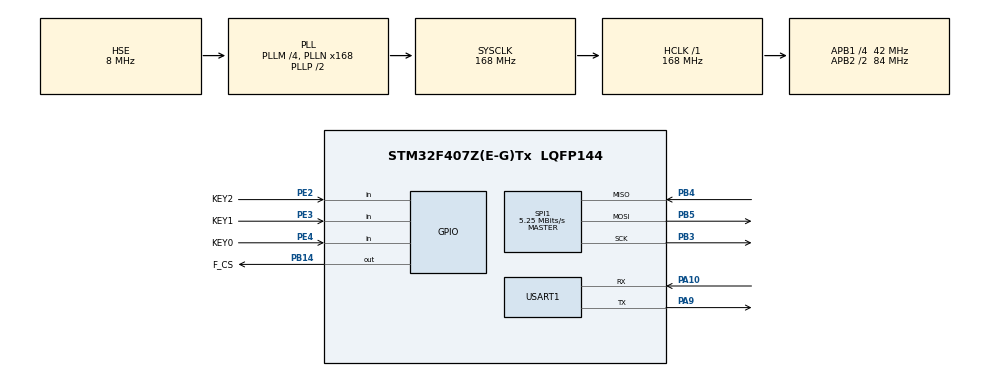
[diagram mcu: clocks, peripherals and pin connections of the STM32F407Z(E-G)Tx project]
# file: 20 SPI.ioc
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Mcu.Family=STM32F4
Mcu.Name=STM32F407Z(E-G)Tx
Mcu.Package=LQFP144
NVIC.PriorityGroup=NVIC_PRIORITYGROUP_4
NVIC.SPI1_IRQn=true\:1\:0\:true\:false\:true\:true\:true\:true
PA10.Mode=Asynchronous
PA10.Signal=USART1_RX
PA13.Mode=Serial_Wire
PA13.Signal=SYS_JTMS-SWDIO
PA14.Mode=Serial_Wire
PA14.Signal=SYS_JTCK-SWCLK
PA9.Mode=Asynchronous
PA9.Signal=USART1_TX
PB14.GPIO_Label=F_CS
PB14.GPIO_PuPd=GPIO_NOPULL
PB14.GPIO_Speed=GPIO_SPEED_FREQ_VERY_HIGH
PB14.PinState=GPIO_PIN_SET
PB14.Signal=GPIO_Output
PB3.Mode=Full_Duplex_Master
PB3.Signal=SPI1_SCK
PB4.Mode=Full_Duplex_Master
PB4.Signal=SPI1_MISO
PB5.Mode=Full_Duplex_Master
PB5.Signal=SPI1_MOSI
PC14-OSC32_IN.Mode=LSE-External-Oscillator
PC14-OSC32_IN.Signal=RCC_OSC32_IN
PC15-OSC32_OUT.Mode=LSE-External-Oscillator
PC15-OSC32_OUT.Signal=RCC_OSC32_OUT
PE2.GPIO_Label=KEY2
PE2.GPIO_PuPd=GPIO_PULLUP
PE2.Signal=GPIO_Input
PE3.GPIO_Label=KEY1
PE3.GPIO_PuPd=GPIO_PULLUP
PE3.Signal=GPIO_Input
PE4.GPIO_Label=KEY0
PE4.GPIO_PuPd=GPIO_PULLUP
PE4.Signal=GPIO_Input
PH0-OSC_IN.Mode=HSE-External-Oscillator
PH0-OSC_IN.Signal=RCC_OSC_IN
PH1-OSC_OUT.Mode=HSE-External-Oscillator
PH1-OSC_OUT.Signal=RCC_OSC_OUT
ProjectManager.HeapSize=0x200
ProjectManager.StackSize=0x1000
ProjectManager.TargetToolchain=MDK-ARM V5.32
RCC.48MHZClocksFreq_Value=84000000
RCC.AHBFreq_Value=168000000
RCC.APB1CLKDivider=RCC_HCLK_DIV4
RCC.APB1Freq_Value=42000000
RCC.APB1TimFreq_Value=84000000
RCC.APB2CLKDivider=RCC_HCLK_DIV2
RCC.APB2Freq_Value=84000000
RCC.APB2TimFreq_Value=168000000
RCC.CortexFreq_Value=168000000
RCC.HCLKFreq_Value=168000000
RCC.HSE_VALUE=8000000
RCC.HSI_VALUE=16000000
RCC.PLLM=4
RCC.PLLN=168
RCC.PLLSourceVirtual=RCC_PLLSOURCE_HSE
RCC.SYSCLKFreq_VALUE=168000000
RCC.SYSCLKSource=RCC_SYSCLKSOURCE_PLLCLK
RCC.VCOOutputFreq_Value=336000000
SPI1.BaudRatePrescaler=SPI_BAUDRATEPRESCALER_16
SPI1.CLKPhase=SPI_PHASE_1EDGE
SPI1.CLKPolarity=SPI_POLARITY_LOW
SPI1.CalculateBaudRate=5.25 MBits/s
SPI1.Direction=SPI_DIRECTION_2LINES
SPI1.Mode=SPI_MODE_MASTER
SPI1.VirtualType=VM_MASTER
USART1.VirtualMode=VM_ASYNC
board=custom

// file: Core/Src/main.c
/* USER CODE BEGIN Header */
/**
  ******************************************************************************
  * @file           : main.c
  * @brief          : Main program body
  ******************************************************************************
  * @attention
  *
  * Copyright (c) 2023 STMicroelectronics.
  * All rights reserved.
  *
  * This software is licensed under terms that can be found in the LICENSE file
  * in the root directory of this software component.
  * If no LICENSE file comes with this software, it is provided AS-IS.
  *
  ******************************************************************************
  */
/* USER CODE END Header */
#include "main.h"
#include "spi.h"
#include "usart.h"
#include "gpio.h"

/* USER CODE BEGIN Includes */
#include "w25flash.h"
#include "stdio.h"
/* USER CODE END Includes */

/* USER CODE BEGIN PTD */
#ifdef __GNUC__
#define PUTCHAR_PROTOTYPE int __io_putchar(int ch)
#else
#define PUTCHAR_PROTOTYPE int fputc(int ch, FILE *f)
#endif
PUTCHAR_PROTOTYPE
{
      HAL_UART_Transmit(&huart1, (uint8_t *)&ch, 1, HAL_MAX_DELAY);
      return ch;
}
/* USER CODE END PTD */

void SystemClock_Config(void);

int main(void)
{

  /* MCU Configuration--------------------------------------------------------*/

  /* Reset of all peripherals, Initializes the Flash interface and the Systick. */
  HAL_Init();

  /* Configure the system clock */
  SystemClock_Config();

  /* Initialize all configured peripherals */
  MX_GPIO_Init();
  MX_SPI1_Init();
  MX_USART1_UART_Init();
  /* USER CODE BEGIN 2 */

	/*主函数主循环外代码*/
	uint16_t ID = Flash_ReadID();
	printf("W25Q128 ID:0x%x\r\n",ID);
	printf("---------------------\r\n");
	printf("KEY2: Flash_Write\r\n");
	printf("KEY1: Flash_Read\r\n");
	printf("KEY0: Flash_Erase\r\n");
	printf("---------------------\r\n");

  /* USER CODE END 2 */

  /* Infinite loop */
  while (1)
  {

    /* USER CODE BEGIN 3 */
		/*按键KEY2被按下*/
		if(HAL_GPIO_ReadPin(KEY2_GPIO_Port,KEY2_Pin) == GPIO_PIN_RESET)
		{
			HAL_Delay(50);
			if(HAL_GPIO_ReadPin(KEY2_GPIO_Port,KEY2_Pin) == GPIO_PIN_RESET)
			{
				Flash_TestWrite();
				while(!HAL_GPIO_ReadPin(KEY2_GPIO_Port,KEY2_Pin));
			}
		}

		/*按键KEY1被按下*/
		if(HAL_GPIO_ReadPin(KEY1_GPIO_Port,KEY1_Pin) == GPIO_PIN_RESET)
		{
			HAL_Delay(50);
			if(HAL_GPIO_ReadPin(KEY1_GPIO_Port,KEY1_Pin) == GPIO_PIN_RESET)
			{
				Flash_TestRead();
				while(!HAL_GPIO_ReadPin(KEY1_GPIO_Port,KEY1_Pin));
			}
		}

		/*按键KEY0被按下*/
		if(HAL_GPIO_ReadPin(KEY0_GPIO_Port,KEY0_Pin) == GPIO_PIN_RESET)
		{
			HAL_Delay(50);
			if(HAL_GPIO_ReadPin(KEY0_GPIO_Port,KEY0_Pin) == GPIO_PIN_RESET)
			{
				printf("---------------------\r\n");
        printf("Erasing Block 0(256 pages)...\r\n");
        uint32_t globalAddr=0;
        Flash_EraseBlock64K(globalAddr);
        printf("Block 0 is erased.\r\n");
        printf("---------------------\r\n");
				while(!HAL_GPIO_ReadPin(KEY0_GPIO_Port,KEY0_Pin));
			}
		}
  }
  /* USER CODE END 3 */
}

void SystemClock_Config(void)
{
  RCC_OscInitTypeDef RCC_OscInitStruct = {0};
  RCC_ClkInitTypeDef RCC_ClkInitStruct = {0};

  /** Configure the main internal regulator output voltage
  */
  __HAL_RCC_PWR_CLK_ENABLE();
  __HAL_PWR_VOLTAGESCALING_CONFIG(PWR_REGULATOR_VOLTAGE_SCALE1);

  /** Initializes the RCC Oscillators according to the specified parameters
  * in the RCC_OscInitTypeDef structure.
  */
  RCC_OscInitStruct.OscillatorType = RCC_OSCILLATORTYPE_HSE;
  RCC_OscInitStruct.HSEState = RCC_HSE_ON;
  RCC_OscInitStruct.PLL.PLLState = RCC_PLL_ON;
  RCC_OscInitStruct.PLL.PLLSource = RCC_PLLSOURCE_HSE;
  RCC_OscInitStruct.PLL.PLLM = 4;
  RCC_OscInitStruct.PLL.PLLN = 168;
  RCC_OscInitStruct.PLL.PLLP = RCC_PLLP_DIV2;
  RCC_OscInitStruct.PLL.PLLQ = 4;
  if (HAL_RCC_OscConfig(&RCC_OscInitStruct) != HAL_OK)
  {
    Error_Handler();
  }

  /** Initializes the CPU, AHB and APB buses clocks
  */
  RCC_ClkInitStruct.ClockType = RCC_CLOCKTYPE_HCLK|RCC_CLOCKTYPE_SYSCLK
                              |RCC_CLOCKTYPE_PCLK1|RCC_CLOCKTYPE_PCLK2;
  RCC_ClkInitStruct.SYSCLKSource = RCC_SYSCLKSOURCE_PLLCLK;
  RCC_ClkInitStruct.AHBCLKDivider = RCC_SYSCLK_DIV1;
  RCC_ClkInitStruct.APB1CLKDivider = RCC_HCLK_DIV4;
  RCC_ClkInitStruct.APB2CLKDivider = RCC_HCLK_DIV2;

  if (HAL_RCC_ClockConfig(&RCC_ClkInitStruct, FLASH_LATENCY_5) != HAL_OK)
  {
    Error_Handler();
  }
}

void Error_Handler(void)
{
  __disable_irq();
  while (1)
  {
  }
}
